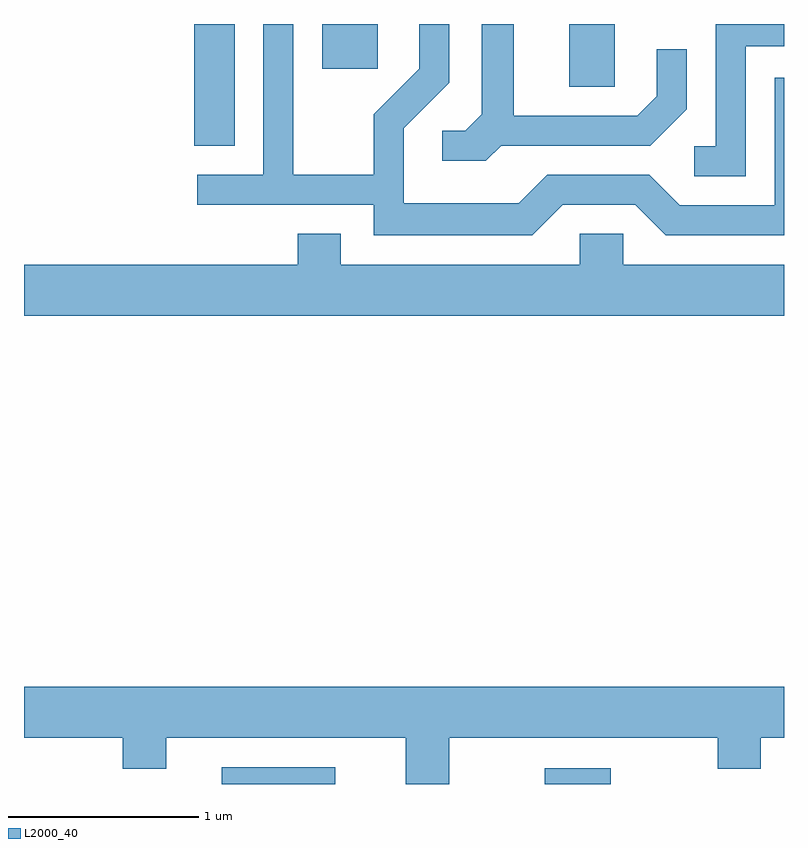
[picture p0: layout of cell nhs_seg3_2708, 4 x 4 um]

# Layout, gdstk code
import gdstk
lib = gdstk.Library(unit=1e-6, precision=1e-09)
def R(c, l, rs):  # rectangles x0, y0, x1, y1
    for r in rs: c.add(gdstk.rectangle(r[:2], r[2:], *l))
def P(c, l, *ps):  # polygons
    for p in ps: c.add(gdstk.Polygon(p, *l))
L2000_40 = (2000, 40)

nhs_seg3_2708 = lib.new_cell('nhs_seg3_2708')
R(nhs_seg3_2708, L2000_40, [(264.651,1227.892,265.248,1227.979), (266.351,1227.892,266.698,1227.974), (264.506,1231.251,264.719,1231.892), (266.481,1231.561,266.719,1231.892), (265.181,1231.656,265.474,1231.892)])
P(nhs_seg3_2708, L2000_40, [(267.409,1231.776),(267.611,1231.776),(267.611,1231.892),(267.251,1231.892),(267.251,1231.249),(267.138,1231.249),(267.138,1231.091),(267.409,1231.091)],
  [(266.447,1230.941),(266.829,1230.941),(266.989,1230.781),(267.611,1230.781),(267.611,1231.609),(267.561,1231.609),(267.561,1230.939),(267.062,1230.939),(266.902,1231.099),(266.364,1231.099),(266.214,1230.949),(265.609,1230.949),(265.609,1231.344),(265.849,1231.584),(265.849,1231.892),(265.691,1231.892),(265.691,1231.657),(265.451,1231.417),(265.451,1231.099),(265.029,1231.099),(265.029,1231.892),(264.871,1231.892),(264.871,1231.099),(264.523,1231.099),(264.523,1230.941),(265.451,1230.941),(265.451,1230.781),(266.287,1230.781)],
  [(266.122,1231.251),(266.907,1231.251),(267.099,1231.444),(267.099,1231.758),(266.941,1231.758),(266.941,1231.512),(266.839,1231.409),(266.189,1231.409),(266.189,1231.892),(266.021,1231.892),(266.021,1231.417),(265.934,1231.329),(265.813,1231.329),(265.813,1231.171),(266.042,1231.171)],
  [(267.611,1230.624),(266.764,1230.624),(266.764,1230.789),(266.536,1230.789),(266.536,1230.624),(265.279,1230.624),(265.279,1230.789),(265.051,1230.789),(265.051,1230.624),(263.611,1230.624),(263.611,1230.356),(267.611,1230.356)],
  [(265.849,1228.136),(267.261,1228.136),(267.261,1227.971),(267.489,1227.971),(267.489,1228.136),(267.611,1228.136),(267.611,1228.404),(263.611,1228.404),(263.611,1228.136),(264.131,1228.136),(264.131,1227.971),(264.359,1227.971),(264.359,1228.136),(265.621,1228.136),(265.621,1227.892),(265.849,1227.892)])

lib.write_gds('nhs_seg3_2708.gds')
